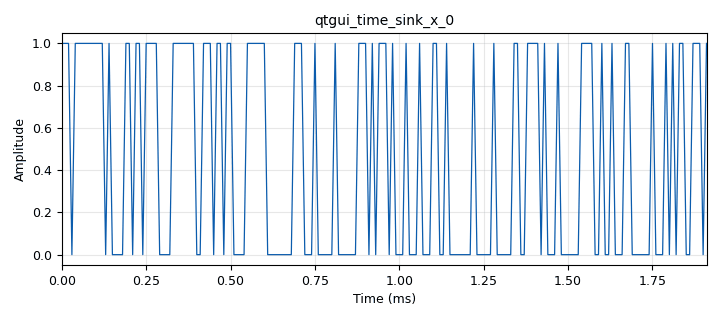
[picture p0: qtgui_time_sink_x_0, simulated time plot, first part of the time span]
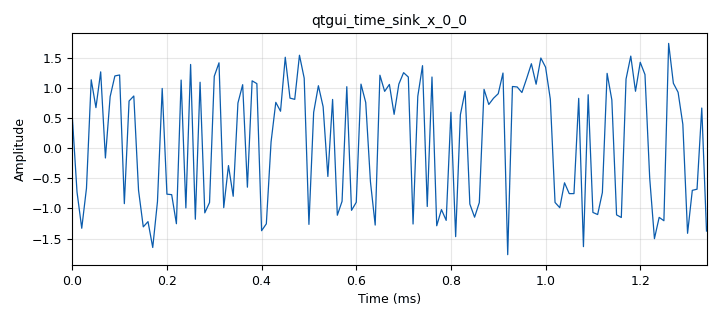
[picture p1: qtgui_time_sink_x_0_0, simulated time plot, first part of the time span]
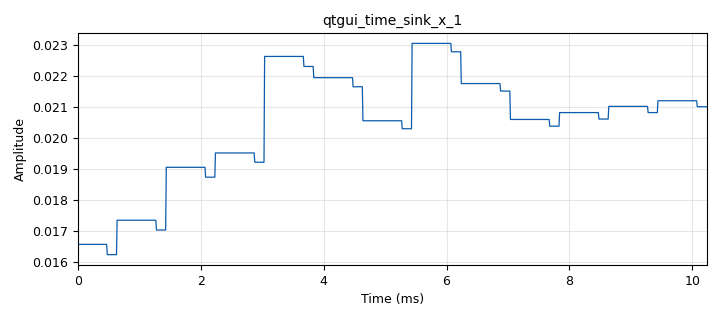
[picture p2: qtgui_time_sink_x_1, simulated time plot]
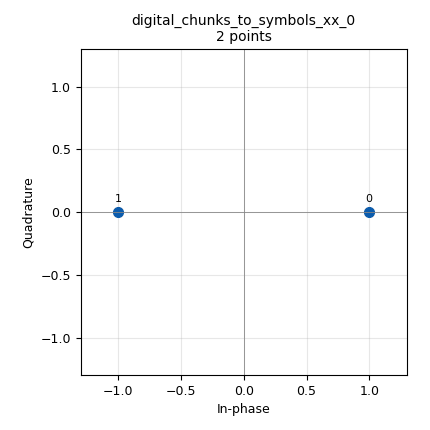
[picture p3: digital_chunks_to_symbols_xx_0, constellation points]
options:
  parameters:
    generate_options: qt_gui
    id: LPDC_Final
    output_language: python
    title: LPDC_Final
  states: {}

blocks:
- name: samp_rate
  id: variable
  parameters:
    value: '100000'
  states: {}
- name: analog_noise_source_x_0
  id: analog_noise_source_x
  parameters:
    amp: '0.3'
    noise_type: analog.GR_GAUSSIAN
    seed: '0'
    type: float
  states: {}
- name: analog_random_source_x_0
  id: analog_random_source_x
  parameters:
    max: '2'
    min: '0'
    num_samps: '10000'
    repeat: 'True'
    type: byte
  states: {}
- name: blocks_add_xx_0
  id: blocks_add_xx
  parameters:
    type: float
  states: {}
- name: blocks_throttle2_0
  id: blocks_throttle2
  parameters:
    samples_per_second: samp_rate
    type: byte
  states: {}
- name: blocks_uchar_to_float_0
  id: blocks_uchar_to_float
  parameters: {}
  states: {}
- name: digital_chunks_to_symbols_xx_0
  id: digital_chunks_to_symbols_xx
  parameters:
    dimension: '1'
    in_type: byte
    out_type: float
    symbol_table: '[1, -1]'
  states: {}
- name: epy_block_0
  id: epy_block
  parameters:
    _source_code: |
      """
      Embedded Python Blocks:

      Each time this file is saved, GRC will instantiate the first class it finds
      to get ports and parameters of your block. The arguments to __init__  will
      be the parameters. All of them are required to have default values!
      """

      import numpy as np
      from gnuradio import gr

      class blk(gr.sync_block):
          def __init__(self, trigger_len=8):
              gr.sync_block.__init__(
                  self,
                  name='Trigger LLRs',
                  in_sig=[np.float32],
                  out_sig=[np.float32]
              )
              self.trigger_len = trigger_len

          def work(self, input_items, output_items):
              llrs = input_items[0].copy()
              for i in range(min(self.trigger_len, len(llrs))):
                  llrs[i] = 1000 * np.sign(llrs[i])  # force strong belief
              output_items[0][:] = llrs
              return len(output_items[0])
    trigger_len: '4'
  states: {}
- name: epy_block_1
  id: epy_block
  parameters:
    _source_code: "\"\"\"\nEmbedded Python Blocks:\n\nEach time this file is saved, GRC will instantiate the first class it finds\nto get ports and parameters of your block. The arguments to __init__  will\nbe the parameters. All of them are required to have default values!\n\"\"\"\n\nimport numpy as np\nfrom gnuradio import gr\n\nclass blk(gr.sync_block):\n    \"\"\"LLR Calculator for BPSK over AWGN\"\"\"\n\n    def __init__(self, noise_power=0.5):\n        gr.sync_block.__init__(\n            self,\n            name='LLR Calc',\n            in_sig=[np.float32],\n            out_sig=[np.float32]\n        )\n        self.N0 = noise_power  # N0 = 2σ², you can adjust in GRC params if needed\n\n    def work(self, input_items, output_items):\n        y = input_items[0]\n        output_items[0][:] = 2 * y / self.N0\n        return len(output_items[0])\n\n"
    noise_power: '0.4'
  states: {}
- name: epy_block_2
  id: epy_block
  parameters:
    _source_code: "\"\"\"\nEmbedded Python Blocks:\n\nEach time this file is saved, GRC will instantiate the first class it finds\nto get ports and parameters of your block. The arguments to __init__  will\nbe the parameters. All of them are required to have default values!\n\"\"\"\n\nimport numpy as np\nfrom gnuradio import gr\n\ndef construct_tailbiting_scldpc(H_base, L):\n    m, n = H_base.shape\n    H_full = np.zeros((L * m, L * n), dtype=int)\n\n    for i in range(L):\n        for offset in [0, 1]:\n            row = (i + offset) % L\n            H_full[row * m:(row + 1) * m,\n                   i * n:(i + 1) * n] += H_base\n\n    return H_full % 2\n\nclass blk(gr.sync_block):\n    def __init__(self):\n        gr.sync_block.__init__(\n            self,\n            name='SC-LDPC Decoder',\n            in_sig=[np.float32],\n            out_sig=[np.uint8]\n        )\n        self.L = 4\n        self.n_block = 20\n        self.m_block = 10\n        self.H_base = np.array([\n            [0,0,0,0,1,0,0,0,1,1,1,0,0,0,1,0,0,0,0,1],\n            [0,0,0,0,0,1,1,0,1,1,0,1,0,0,0,0,0,0,0,0],\n            [0,1,1,0,0,0,0,0,0,0,0,0,1,0,1,0,1,0,1,1],\n            [1,0,0,0,1,0,0,0,0,1,0,0,0,1,1,1,0,0,0,0],\n            [1,1,0,0,1,0,0,0,0,0,0,1,0,0,0,1,0,1,0,1],\n            [0,0,0,0,1,1,0,1,1,0,0,0,0,0,0,0,0,0,0,1],\n            [0,0,0,1,1,0,0,1,1,0,0,0,0,0,0,0,0,0,1,0],\n            [0,0,0,0,0,0,1,1,1,0,0,0,1,0,0,0,0,0,0,0],\n            [1,0,1,0,0,0,0,1,1,1,0,0,0,0,0,0,0,0,0,0],\n            [0,0,1,0,1,0,1,0,0,1,0,0,0,0,0,0,0,1,1,0]\n        ])\n        self.H = construct_tailbiting_scldpc(self.H_base, self.L)\n\n    def work(self, input_items, output_items):\n        llr = input_items[0][:self.L * self.n_block]\n        decoded = self.decode(self.H, llr)\n        output_items[0][:self.L * self.n_block] = decoded.astype(np.uint8)\n        return self.L * self.n_block\n\n    def decode(self, H, llr, max_iters=50):\n        m, n = H.shape\n        M = {}\n        for i in range(m):\n            for j in np.where(H[i])[0]:\n                M[(i, j)] = llr[j]\n\n        decoded = np.zeros(n, dtype=int)\n\n        for it in range(max_iters):\n            # Check node update\n            for i in range(m):\n                neighbors = np.where(H[i])[0]\n                for j in neighbors:\n                    others = [M[(i, k)] for k in neighbors if k != j]\n                    if others:\n                        sign = np.prod(np.sign(others))\n                        val = np.min(np.abs(others))\n                        M[(i, j)] = sign * val\n\n            # Bit node update\n            new_llr = llr.copy()\n            for j in range(n):\n                neighbors = np.where(H[:, j])[0]\n                msgs = [M[(i, j)] for i in neighbors]\n                new_llr[j] += np.sum(msgs)\n\n            llr = 0.5 * llr + 0.5 * new_llr  # damping\n            decoded = (llr < 0).astype(int)\n\n            satisfied = np.sum(np.dot(H, decoded) % 2 == 0)\n            print(f\"Iteration {it+1}: parity checks satisfied: {satisfied}/{m}\")\n\n            if satisfied == m:\n                print(\"✅ Decoding successful\")\n                break\n\n        return decoded\n\n"
  states: {}
- name: epy_block_3
  id: epy_block
  parameters:
    _source_code: |
      """
      Embedded Python Blocks:

      Each time this file is saved, GRC will instantiate the first class it finds
      to get ports and parameters of your block. The arguments to __init__  will
      be the parameters. All of them are required to have default values!
      """

      import numpy as np
      from gnuradio import gr

      class blk(gr.sync_block):
          def __init__(self):
              gr.sync_block.__init__(
                  self,
                  name='BER Counter',
                  in_sig=[np.uint8, np.uint8],  # [original, decoded]
                  out_sig=[np.float32]
              )
              self.count = 0
              self.errors = 0

          def work(self, input_items, output_items):
              original = input_items[0]
              decoded = input_items[1]
              n = min(len(original), len(decoded))

              errors = np.sum(original[:n] != decoded[:n])
              self.count += n
              self.errors += errors

              ber = self.errors / self.count if self.count > 0 else 0.0
              output_items[0][:n] = ber  # Repeat BER for plotting
              return n
  states: {}
- name: qtgui_time_sink_x_0
  id: qtgui_time_sink_x
  parameters:
    autoscale: 'True'
    size: '1024'
    srate: samp_rate
    type: float
    ymax: '1.2'
    ymin: '-0.2'
  states: {}
- name: qtgui_time_sink_x_0_0
  id: qtgui_time_sink_x
  parameters:
    autoscale: 'True'
    size: '1024'
    srate: samp_rate
    type: float
    ymax: '1.2'
    ymin: '-0.2'
  states: {}
- name: qtgui_time_sink_x_1
  id: qtgui_time_sink_x
  parameters:
    autoscale: 'True'
    size: '1024'
    srate: samp_rate
    type: float
  states: {}

connections:
- [analog_noise_source_x_0, '0', blocks_add_xx_0, '1']
- [analog_random_source_x_0, '0', blocks_throttle2_0, '0']
- [analog_random_source_x_0, '0', epy_block_3, '0']
- [blocks_add_xx_0, '0', epy_block_1, '0']
- [blocks_add_xx_0, '0', qtgui_time_sink_x_0_0, '0']
- [blocks_throttle2_0, '0', digital_chunks_to_symbols_xx_0, '0']
- [blocks_uchar_to_float_0, '0', qtgui_time_sink_x_0, '0']
- [digital_chunks_to_symbols_xx_0, '0', blocks_add_xx_0, '0']
- [epy_block_0, '0', epy_block_2, '0']
- [epy_block_1, '0', epy_block_0, '0']
- [epy_block_2, '0', blocks_uchar_to_float_0, '0']
- [epy_block_2, '0', epy_block_3, '1']
- [epy_block_3, '0', qtgui_time_sink_x_1, '0']

metadata:
  file_format: 1
  grc_version: 3.10.12.0
